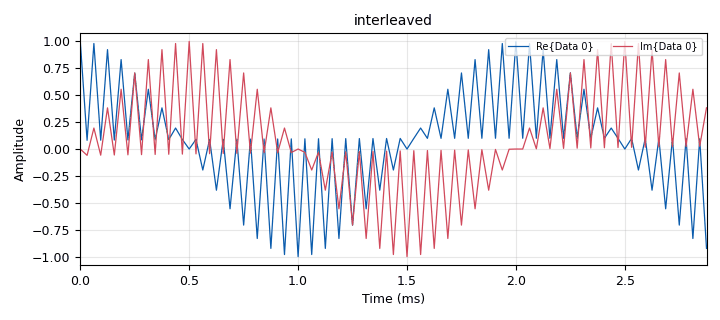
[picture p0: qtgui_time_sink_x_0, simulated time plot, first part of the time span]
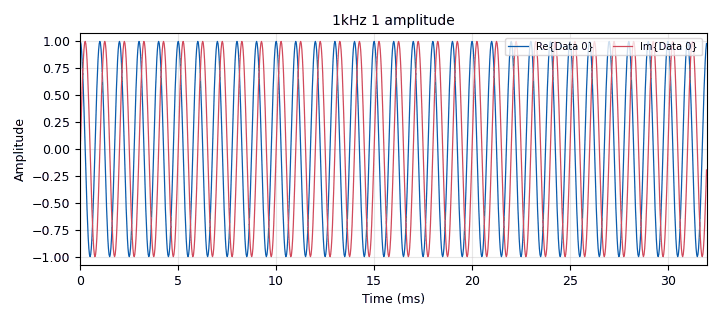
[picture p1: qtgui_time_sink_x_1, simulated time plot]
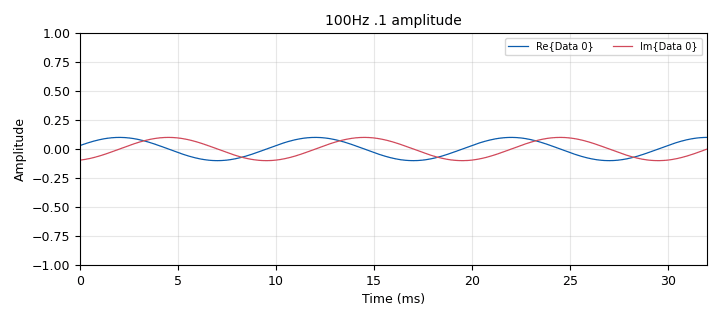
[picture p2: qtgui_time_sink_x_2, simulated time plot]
options:
  parameters:
    generate_options: qt_gui
    id: stream
    output_language: python
    title: Not titled yet
  states: {}

blocks:
- name: samp_rate
  id: variable
  parameters:
    value: '32000'
  states: {}
- name: analog_sig_source_x_0
  id: analog_sig_source_x
  parameters:
    amp: '1'
    comment: |-
      Blocks in GNU radio use either streams or vectors.
      A stream carries one sample for each time instance.
      A stream produces serialized data. A stream must
      have a data type.

      Signal Source produces a stream of  data, in this
      case a complex float 32.
    freq: '1000'
    offset: '0'
    phase: '0'
    samp_rate: samp_rate
    type: complex
    waveform: analog.GR_COS_WAVE
  states: {}
- name: analog_sig_source_x_1
  id: analog_sig_source_x
  parameters:
    amp: '.1'
    freq: '100'
    offset: '0'
    phase: '0'
    samp_rate: samp_rate
    type: complex
    waveform: analog.GR_COS_WAVE
  states: {}
- name: blocks_streams_to_vector_0
  id: blocks_streams_to_vector
  parameters:
    comment: |-
      Vectors carry multiple samples per time instance.
      Vectors represent data in parallel. A stream represents
      a scalar at each time instance. A vector represents
      an array at each time instance. GRC lighter data
      type colors to represent streams and darker colors
      to represent vectors.

      In this example two complex sinusoid streams
      are converted to a 2 element vector, displayed, 
      and then converted back to their two independant
      streams.

      The streams to vector block acts as an interleaver.
      It puts the in0 stream sample into the first element
      and the in1 sample into the 2nd element of an
      array.
    type: complex
  states: {}
- name: blocks_vector_to_stream_0
  id: blocks_vector_to_stream
  parameters:
    type: complex
  states: {}
- name: blocks_vector_to_streams_0
  id: blocks_vector_to_streams
  parameters:
    comment: |-
      Vector to streams block deserializes
      vector samples and converts them
      into streams, performing the 
      inverse operation to the 
      Streams to Vector block.
    type: complex
  states: {}
- name: qtgui_time_sink_x_0
  id: qtgui_time_sink_x
  parameters:
    name: '"interleaved"'
    size: '1024'
    srate: samp_rate
    type: complex
  states: {}
- name: qtgui_time_sink_x_1
  id: qtgui_time_sink_x
  parameters:
    name: '"1kHz 1 amplitude"'
    size: '1024'
    srate: samp_rate
    type: complex
  states: {}
- name: qtgui_time_sink_x_2
  id: qtgui_time_sink_x
  parameters:
    name: '"100Hz .1 amplitude"'
    size: '1024'
    srate: samp_rate
    type: complex
  states: {}

connections:
- [analog_sig_source_x_0, '0', blocks_streams_to_vector_0, '0']
- [analog_sig_source_x_1, '0', blocks_streams_to_vector_0, '1']
- [blocks_streams_to_vector_0, '0', blocks_vector_to_stream_0, '0']
- [blocks_streams_to_vector_0, '0', blocks_vector_to_streams_0, '0']
- [blocks_vector_to_stream_0, '0', qtgui_time_sink_x_0, '0']
- [blocks_vector_to_streams_0, '0', qtgui_time_sink_x_1, '0']
- [blocks_vector_to_streams_0, '1', qtgui_time_sink_x_2, '0']

metadata:
  file_format: 1
  grc_version: 3.10.6.0
